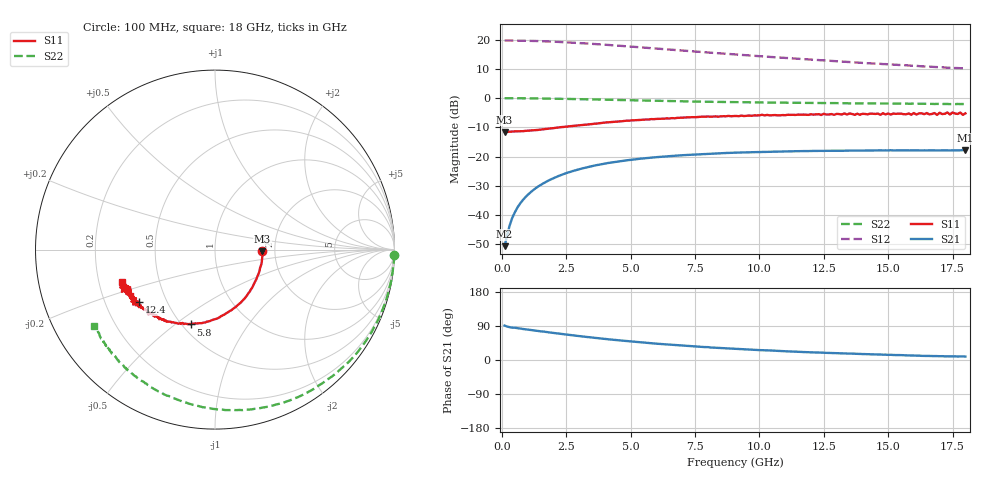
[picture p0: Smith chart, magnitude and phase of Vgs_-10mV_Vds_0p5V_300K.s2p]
#  HZ  S  DB  R  50.00
! Rohde & Schwarz ZVA50 4Ports - Version 4.11 - 1145.1110k52 SN: 100136
! Date: 2022-09-20 22:14:13
! Measurements: S11 S21 S12 S22
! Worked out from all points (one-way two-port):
!   180 points, 100 MHz to 18 GHz, reference 50 ohm
!   highest |S21| = -17.83 dB at 18 GHz (marker M1); lowest = -50.7 dB at 100 MHz (marker M2)
!   lowest |S11| = -11.6 dB at 100 MHz (marker M3), VSWR 1.71, Z = 85.6 - j1.91 ohm
!   |S11| at or under -10 dB: start of sweep to 2.241 GHz
!   |S22| runs from -2.0 to 0.0 dB; largest |S21 - S12| = 9.8
!   S11 on the Smith chart (normalised r, x): 100 MHz: 1.71, -0.04; 5.8 GHz: 0.55, -0.57; 12.4 GHz: 0.35, -0.28; 18 GHz: 0.30, -0.16
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1e8  -11.60 -2.3  -50.73 90.9  19.78 179.0  -0.02 -1.7
4e8  -11.46 -11.1  -40.95 85.4  19.74 176.0  -0.02 -6.7
6e8  -11.35 -17.1  -37.44 84.0  19.72 174.0  -0.03 -10.0
1e9  -11.15 -28.1  -33.14 80.2  19.66 170.0  -0.05 -16.6
1.5e9  -10.78 -41.1  -29.76 75.7  19.54 165.2  -0.10 -24.6
1.9e9  -10.35 -50.6  -27.83 72.3  19.39 161.4  -0.15 -31.0
2.5e9  -9.74 -63.1  -25.67 67.1  19.13 156.0  -0.24 -40.1
3.1e9  -9.21 -73.6  -24.13 62.2  18.84 150.9  -0.37 -48.6
3.7e9  -8.69 -83.0  -22.92 57.6  18.51 146.0  -0.46 -56.9
4.4e9  -8.07 -93.1  -21.84 52.7  18.06 140.8  -0.59 -65.8
5e9  -7.65 -99.8  -21.14 49.1  17.68 136.7  -0.72 -72.8
5.8e9  -7.17 -107.8  -20.38 44.2  17.14 131.7  -0.88 -81.4
6.1e9  -7.09 -110.3  -20.15 42.6  16.93 130.1  -0.93 -84.3
7.6e9  -6.46 -122.4  -19.29 35.3  15.90 122.2  -1.17 -97.9
9.1e9  -6.11 -129.8  -18.66 29.2  14.98 115.7  -1.36 -108.9
1.02e10  -5.91 -135.8  -18.43 25.6  14.25 111.5  -1.50 -116.1
1.21e10  -5.63 -143.1  -18.12 20.0  13.13 105.4  -1.66 -126.3
1.24e10  -5.77 -145.5  -18.06 19.4  12.99 104.4  -1.65 -127.7
1.4e10  -5.37 -151.9  -17.98 15.7  12.06 100.3  -1.76 -134.9
1.51e10  -5.62 -150.2  -17.84 13.8  11.61 97.5  -1.82 -138.5
1.58e10  -5.24 -154.5  -17.90 12.0  11.20 95.3  -1.91 -141.8
1.8e10  -5.22 -160.6  -17.83 9.1  10.20 91.5  -2.00 -147.8
